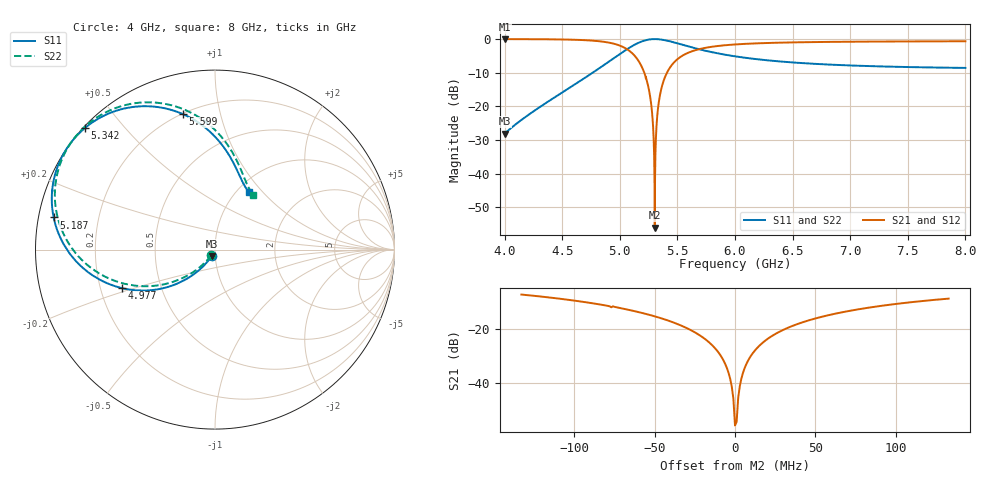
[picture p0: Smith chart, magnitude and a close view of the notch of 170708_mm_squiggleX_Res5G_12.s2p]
! Sonnet Data File
! From: emgraph Version : 16.52
! From Emgraph Data: 170708_mm_squiggleX_Res5G_12
! Data File Written: 11/07/2017 15:11:36
!< HDATE 07/08/2017 18:42:22
!< MDATE 07/08/2017 18:42:22
!< PARAMS
!< Squiggle_length = 16.0
!< dcoup = 76.0
!< dCr = 12.0
!< END PARAMS
# GHZ S MA R 50.00000
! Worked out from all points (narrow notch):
!   4001 points, 4 GHz to 8 GHz, reference 50 ohm
!   highest |S21| = -0.01 dB at 4 GHz (marker M1); lowest = -56.0 dB at 5.303 GHz (marker M2)
!   notch at M2: 55.2 dB deep, 22.2 MHz wide at half that depth
!   lowest |S11| = -28.1 dB at 4 GHz (marker M3), VSWR 1.08, Z = 48.1 - j3.38 ohm
!   |S11| at or under -10 dB: start of sweep to 4.764 GHz
!   |S22| runs from -28.1 to 0.0 dB; largest |S21 - S12| = 0
!   S11 on the Smith chart (normalised r, x): 4 GHz: 0.96, -0.07; 4.977 GHz: 0.29, -0.18; 5.187 GHz: 0.04, +0.10; 5.342 GHz: 0.00, +0.40; 5.599 GHz: 0.20, +0.77; 8 GHz: 1.13, +0.84
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4  0.03949 -117.4  0.9992 -30.7  0.9992 -30.7  0.03949 -124.0
!< P1 F=4.0 Eeff=(6.5397458 -3.016e-5) Z0=(50.7196015 1.16967e-4) R=0.01177901 C=0.01558055
!< P2 F=4.0 Eeff=(6.5397458 -3.016e-5) Z0=(50.7196015 1.16967e-4) R=0.01177901 C=0.01558055
4.667  0.2456 -135.4  0.9691 -47.2  0.9691 -47.2  0.2456 -139.1
4.835  0.3819 -144.9  0.9238 -56.6  0.9238 -56.6  0.3819 -148.4
4.977  0.5629 -157.6  0.8261 -69.3  0.8261 -69.3  0.5629 -161.1
5.086  0.7482 -172.6  0.6631 -84.2  0.6631 -84.2  0.7482 -175.9
5.187  0.9166 168.7  0.3994 -102.9  0.3994 -102.9  0.9166 165.4
5.227  0.9621 160.7  0.2714 -110.9  0.2714 -110.9  0.9621 157.3
5.257  0.9867 154.1  0.1622 -117.6  0.1622 -117.6  0.9867 150.8
5.276  0.9954 150.1  0.09526 -121.6  0.09526 -121.6  0.9954 146.8
5.29  0.9989 147.2  0.04635 -124.4  0.04635 -124.4  0.9989 143.9
5.303  1 144.5  0.001576 -125.6  0.001576 -125.6  1 141.2
5.318  0.9988 141.5  0.04897 49.8  0.04897 49.8  0.9988 138.2
5.334  0.9948 138.4  0.1012 46.7  0.1012 46.7  0.9948 135.1
5.342  0.9919 136.9  0.1266 45.2  0.1266 45.2  0.9919 133.6
5.376  0.9736 130.7  0.228 39.1  0.228 39.1  0.9736 127.5
5.428  0.9326 122.4  0.3609 30.8  0.3609 30.8  0.9326 119.2
5.599  0.775 103.2  0.632 11.6  0.632 11.6  0.775 100.0
5.766  0.6575 92.5  0.7534 0.8  0.7534 0.8  0.6575 89.2
6  0.5544 83.5  0.8322 -8.1  0.8322 -8.1  0.5544 80.2
6.667  0.431 71.2  0.9022 -20.6  0.9022 -20.6  0.4311 67.7
7.334  0.3896 64.6  0.9208 -27.3  0.9208 -27.3  0.3897 60.8
8  0.3729 59.7  0.9279 -32.4  0.9279 -32.4  0.3729 55.4
